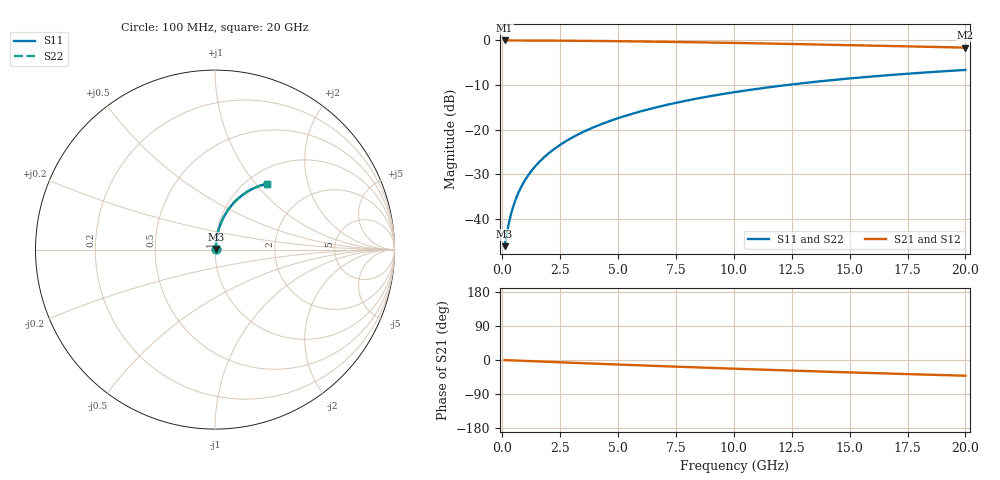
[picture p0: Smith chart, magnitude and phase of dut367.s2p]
! Touchstone file exported from HFSS 2024.1.0
!  File:  C:/UserFiles/LocalFiles/RDL_TSV_Batchsim/temp_RDL_bottom_367_1779613129.aedt
!  Generated:  05:02:06 PM May 24, 2026
!  Design:  RDL_bottom
!  Project:  temp_RDL_bottom_367_1779613129
!  Setup:  Setup1
!  Solution:  Sweep
! Variables:
!  dtsv = 10.80580581um
!  hbump = 3um
!  htsv = 99.07um
!  ldown = 508.48um
!  lrdl = 100um
!  p = 40
!  p1 = 55.14um
!  rhole = 1um
!  t = 450um
!  tdown = 3.23um
!  trdl = 3.915915916um
!  wdown = 14.02um
!  wrdl = 20um
# GHz S MA R 50.000000
! Terminal data exported
! Port[1] = RDL1_T1
! Port[2] = RDL1_T2
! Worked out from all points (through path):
!   200 points, 100 MHz to 20 GHz, reference 50 ohm
!   highest |S21| = -0.04 dB at 100 MHz (marker M1); lowest = -1.6 dB at 20 GHz (marker M2)
!   group delay of S21, straight-line fit = 5.76 ps
!   lowest |S11| = -46.1 dB at 100 MHz (marker M3), VSWR 1.01, Z = 50.4 + j0.283 ohm
!   |S11| at or under -10 dB: start of sweep to 12.31 GHz
!   |S22| runs from -46.1 to -6.6 dB; largest |S21 - S12| = 3.1e-15
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0.1  0.004964 34.4  0.9959 -0.3  0.9959 -0.3  0.004964 34.4
! Gamma 0 0 0 0
! Port Impedance 50 0 50 0
0.2  0.006984 53.2  0.9958 -0.5  0.9958 -0.5  0.006984 53.2
0.3  0.009396 62.7  0.9957 -0.8  0.9957 -0.8  0.009396 62.7
0.4  0.01194 68.1  0.9956 -1.0  0.9956 -1.0  0.01194 68.1
0.5  0.01453 71.5  0.9954 -1.2  0.9954 -1.2  0.01453 71.5
0.6  0.01714 73.8  0.9953 -1.5  0.9953 -1.5  0.01714 73.8
0.8  0.02239 76.7  0.9949 -2.0  0.9949 -2.0  0.02239 76.7
1.1  0.03031 79.1  0.9944 -2.7  0.9944 -2.7  0.03031 79.1
1.5  0.04094 80.6  0.9935 -3.7  0.9935 -3.7  0.04094 80.6
1.8  0.04894 81.1  0.9927 -4.4  0.9927 -4.4  0.04894 81.1
2.1  0.05695 81.3  0.9919 -5.1  0.9919 -5.1  0.05695 81.3
2.7  0.07301 81.2  0.9897 -6.6  0.9897 -6.6  0.07301 81.2
3.5  0.09441 80.5  0.9861 -8.5  0.9861 -8.5  0.09441 80.5
4.2  0.1131 79.6  0.9823 -10.1  0.9823 -10.1  0.1131 79.6
5  0.1344 78.5  0.9773 -12.0  0.9773 -12.0  0.1344 78.5
5.9  0.1581 77.0  0.971 -14.0  0.971 -14.0  0.1581 77.0
6.8  0.1816 75.4  0.964 -16.1  0.964 -16.1  0.1816 75.4
8.3  0.2201 72.7  0.9511 -19.4  0.9511 -19.4  0.2201 72.7
10.1  0.2646 69.4  0.934 -23.2  0.934 -23.2  0.2646 69.4
13.4  0.3404 63.3  0.8999 -29.7  0.8999 -29.7  0.3404 63.3
16.7  0.4076 57.4  0.864 -35.8  0.864 -35.8  0.4076 57.4
20  0.4658 51.9  0.828 -41.4  0.828 -41.4  0.4658 51.9
